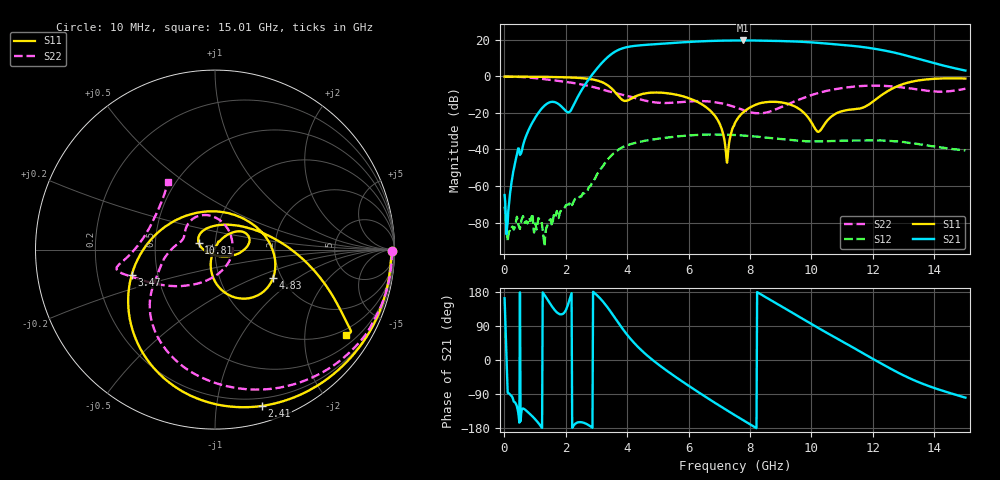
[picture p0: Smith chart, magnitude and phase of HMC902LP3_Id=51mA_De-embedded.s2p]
! Hittite Microwave Corporation
! 20 Alpha Road
! Chelmsford, MA 01824
! http://www.hittite.com
! Tel: 978-250-3343
! Fax: 978-250-3373
! Device:  HMC902LP3E
! Description: GaAs pHEMT MMIC Low Noise Amplifier
! Frequency:  5.00 -  10.00 GHz
! Package:  LP3  - 3x3 mm Quad Flatpack No-Lead (QFN) Plastic Package: 16 pin
! Ports:  2 RF, 4 DC
!  Pin  3 = RF In  = Port 1
!  Pin  5 = Vgg1 (Optional)
!  Pin  6 = Vgg2 (Optional)
!  Pin 10 = RF Out  = Port 2
!  Pin 14 = Vdd2
!  Pin 15 = Vdd1
! Voltages:  Vdd  = Vdd1 = Vdd2 = +3.50  Volts
!  Idd  = Idd1 + Idd2 = 51.24  mA
!  Vgg  = Vgg1 = Vgg2 = -0.35  Volts
!  Igg  = Igg1 + Igg2 = -0.09  mA
! Data:  The device was measured on evaluation board 128395.
!  Data was collected using a calibrated network analyzer.
!  The evaluation circuit board was modeled and simulated.  This was use
!  to removed the evaluation board circuit from the measured data.
!  The reference plane is the edge of the package pin.
! Misc:
! Date Measured:  2010-08-30
! Date:  2010-09-07 MJV
! Note:
!  Hittite supplies this data as a sample of measured data at the package pin for
!  for this package product.  Your particular data for this product may vary.
!  Data was taken at 25 degrees C.
!  Hittite reserves the right to change this data at anytime.
# GHz S MA R 50
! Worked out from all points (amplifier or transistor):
!   751 points, 10 MHz to 15.01 GHz, reference 50 ohm
!   highest |S21| = 19.7 dB at 7.77 GHz (marker M1)
!   |S21| within 3 dB of that: 4.225 GHz to 11.36 GHz (7.133 GHz wide, 91.5 % of centre)
!   unconditionally stable (mu >= 1): start of sweep to end of sweep
!   at 2.51 GHz: K = 294.32, MAG = 1.3 dB, |S12| = -65.8 dB
!   at 7.51 GHz: K = 2.17, MAG = 19.7 dB, |S12| = -32.1 dB
!   at 15.01 GHz: K = 6.56, MAG = 10.7 dB, |S12| = -40.6 dB
!   S11 on the Smith chart (normalised r, x): 10 MHz: open; 2.41 GHz: 0.13, -1.34; 3.47 GHz: 0.35, -0.13; 4.83 GHz: 1.80, -0.66; 10.81 GHz: 0.83, +0.06; 15.01 GHz: 0.80, -3.20
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0.01  0.9867 -0.4  0.0005672 162.9  0.0002746 -145.5  0.9864 -0.5
1.09  0.9755 -28.0  0.09524 -164.3  0.0001026 14.5  0.88 -56.9
2.41  0.9094 -73.3  0.2933 -164.2  0.0004493 -115.6  0.6247 -115.4
2.51  0.8969 -78.1  0.411 -164.1  0.0005142 -92.3  0.6029 -119.5
3.07  0.7512 -115.6  1.85 166.7  0.002459 -90.0  0.4679 -140.9
3.47  0.486 -162.9  3.97 126.6  0.006674 -117.9  0.3754 -152.7
4.01  0.2182 65.0  6.367 65.5  0.01311 -170.9  0.2922 -168.9
4.83  0.3602 -26.4  7.515 -0.1  0.01873 132.9  0.1977 167.5
5.01  0.3614 -35.4  7.703 -11.5  0.01966 123.0  0.19 163.7
5.61  0.314 -60.5  8.342 -46.5  0.02277 94.0  0.1942 149.8
6.33  0.1925 -87.3  9.044 -85.6  0.02512 62.0  0.2114 125.4
6.89  0.07621 -108.1  9.409 -114.7  0.0256 38.8  0.1949 101.0
7.51  0.05329 60.9  9.591 -145.9  0.02485 14.9  0.1443 65.4
7.77  0.1027 51.0  9.612 -158.6  0.02408 5.9  0.1212 44.7
8.73  0.2017 19.8  9.394 155.3  0.02026 -22.2  0.1152 -62.8
9.41  0.1569 -1.9  9.044 123.1  0.01781 -36.6  0.2006 -113.4
10.01  0.05314 -44.6  8.51 94.4  0.0167 -44.7  0.3104 -139.1
10.81  0.09757 158.1  7.506 57.6  0.01728 -56.7  0.4524 -158.6
11.63  0.1359 85.2  6.413 20.1  0.01768 -75.2  0.5451 -166.6
12.51  0.408 1.8  4.841 -20.1  0.01738 -98.2  0.5407 -171.2
13.69  0.8168 -27.9  2.69 -64.9  0.0131 -129.0  0.4114 172.8
15.01  0.8734 -33.0  1.442 -99.3  0.009334 -153.4  0.46 124.7
